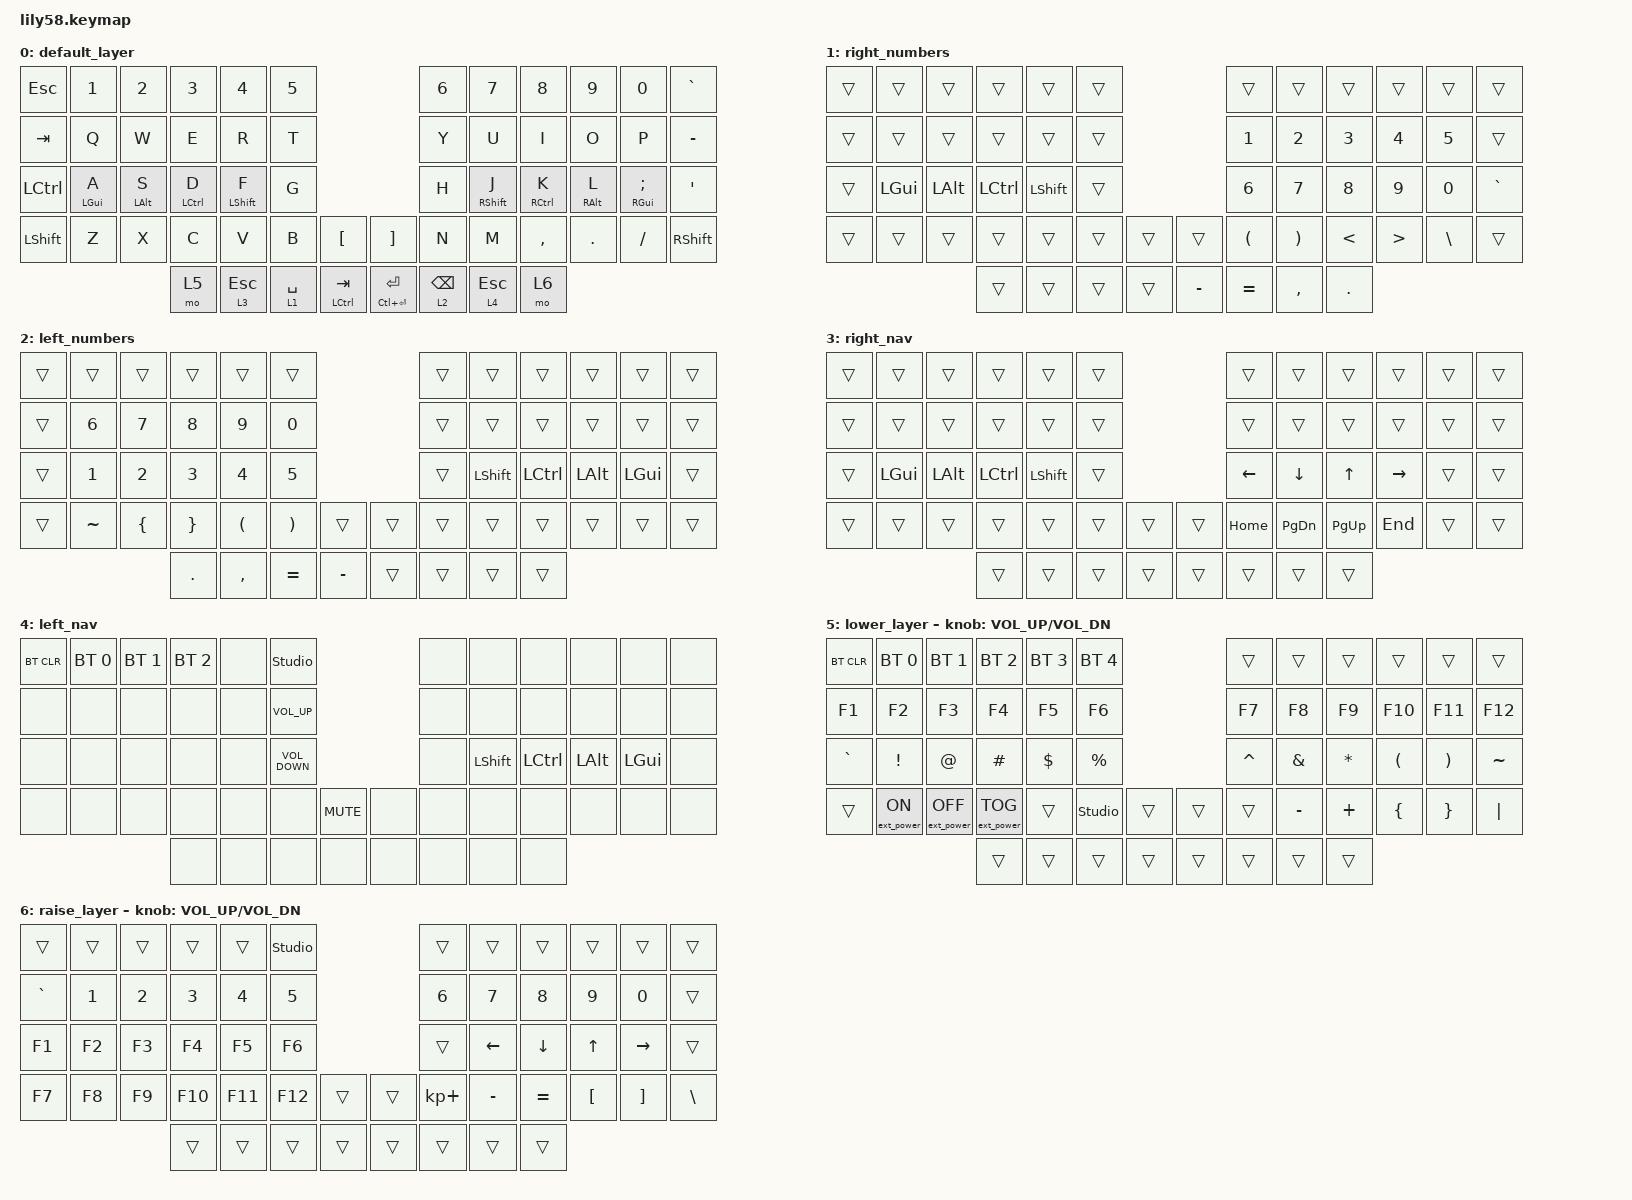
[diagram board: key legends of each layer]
/*
 * Copyright (c) 2020 The ZMK Contributors
 *
 * SPDX-License-Identifier: MIT
 */

#include <dt-bindings/zmk/behaviors.h>
#include <behaviors.dtsi>
#include <dt-bindings/zmk/bt.h>
#include <dt-bindings/zmk/ext_power.h>
#include <dt-bindings/zmk/keys.h>

/ {
    behaviors {
        hml: home_row_mod_left {
            compatible = "zmk,behavior-hold-tap";
            #binding-cells = <2>;
            flavor = "balanced";
            require-prior-idle-ms = <150>;
            tapping-term-ms = <280>;
            quick-tap-ms = <175>;
            bindings = <&kp>, <&kp>;

            hold-trigger-key-positions = <13 14 15 16>; // List of keys on the right side of the keyboard
            hold-trigger-on-release;
        };

        hmr: home_row_mod_right {
            compatible = "zmk,behavior-hold-tap";
            #binding-cells = <2>;
            flavor = "balanced";
            require-prior-idle-ms = <150>;
            tapping-term-ms = <280>;
            quick-tap-ms = <175>;
            bindings = <&kp>, <&kp>;

            hold-trigger-key-positions = <13 14 15 16>; // List of keys on the left side of the keyboard
            hold-trigger-on-release;
        };
    };
};

/ {
    keymap {
        compatible = "zmk,keymap";

        default_layer {
            // ------------------------------------------------------------------------------------------------------------
            // |  ESC  |  1  |  2  |  3   |  4   |  5   |                   |  6   |  7    |  8    |  9   |   0   |   `   |
            // |  TAB  |  Q  |  W  |  E   |  R   |  T   |                   |  Y   |  U    |  I    |  O   |   P   |   -   |
            // |  CTRL |  A  |  S  |  D   |  F   |  G   |                   |  H   |  J    |  K    |  L   |   ;   |   '   |
            // | SHIFT |  Z  |  X  |  C   |  V   |  B   |   "["  |  |  "]"  |  N   |  M    |  ,    |  .   |   /   | SHIFT |
            //                     | ALT  | GUI  | LOWER|  SPACE |  | ENTER | RAISE| BSPC  | GUI   |

            bindings = <
&kp ESC    &kp N1       &kp N2       &kp N3        &kp N4        &kp N5                                         &kp N6           &kp N7        &kp N8        &kp N9       &kp N0               &kp GRAVE
&kp TAB    &kp Q        &kp W        &kp E         &kp R         &kp T                                          &kp Y            &kp U         &kp I         &kp O        &kp P                &kp MINUS
&kp LCTRL  &hml LGUI A  &hml LALT S  &hml LCTRL D  &hml LSHFT F  &kp G                                          &kp H            &hmr RSHFT J  &hmr RCTRL K  &hmr RALT L  &hmr RGUI SEMICOLON  &kp SQT
&kp LSHFT  &kp Z        &kp X        &kp C         &kp V         &kp B        &kp LBKT         &kp RBKT         &kp N            &kp M         &kp COMMA     &kp DOT      &kp FSLH             &kp RSHFT
                                     &mo 5         &lt 3 ESCAPE  &lt 1 SPACE  &mt LCTRL TAB    &mt LC(RET) RET  &lt 2 BACKSPACE  &lt 4 ESCAPE  &mo 6
            >;
        };

        right_numbers {
            bindings = <
&trans  &trans    &trans    &trans     &trans     &trans                       &trans                &trans                 &trans         &trans            &trans         &trans
&trans  &trans    &trans    &trans     &trans     &trans                       &kp NUMBER_1          &kp NUMBER_2           &kp NUMBER_3   &kp NUMBER_4      &kp N5         &trans
&trans  &kp LGUI  &kp LALT  &kp LCTRL  &kp LSHFT  &trans                       &kp N6                &kp N7                 &kp N8         &kp N9            &kp N0         &kp GRAVE
&trans  &trans    &trans    &trans     &trans     &trans  &trans    &trans     &kp LEFT_PARENTHESIS  &kp RIGHT_PARENTHESIS  &kp LESS_THAN  &kp GREATER_THAN  &kp BACKSLASH  &trans
                            &trans     &trans     &trans  &trans    &kp MINUS  &kp EQUAL             &kp COMMA              &kp PERIOD
            >;
        };

        left_numbers {
            bindings = <
&trans  &trans     &trans          &trans           &trans                &trans                                      &trans  &trans     &trans     &trans    &trans    &trans
&trans  &kp N6     &kp N7          &kp N8           &kp N9                &kp N0                                      &trans  &trans     &trans     &trans    &trans    &trans
&trans  &kp N1     &kp N2          &kp N3           &kp N4                &kp N5                                      &trans  &kp LSHFT  &kp LCTRL  &kp LALT  &kp LGUI  &trans
&trans  &kp TILDE  &kp LEFT_BRACE  &kp RIGHT_BRACE  &kp LEFT_PARENTHESIS  &kp RIGHT_PARENTHESIS  &trans       &trans  &trans  &trans     &trans     &trans    &trans    &trans
                                   &kp PERIOD       &kp COMMA             &kp EQUAL              &kp MINUS    &trans  &trans  &trans     &trans
            >;
        };

        right_nav {
            bindings = <
&trans  &trans    &trans    &trans     &trans     &trans                    &trans    &trans     &trans     &trans     &trans  &trans
&trans  &trans    &trans    &trans     &trans     &trans                    &trans    &trans     &trans     &trans     &trans  &trans
&trans  &kp LGUI  &kp LALT  &kp LCTRL  &kp LSHFT  &trans                    &kp LEFT  &kp DOWN   &kp UP     &kp RIGHT  &trans  &trans
&trans  &trans    &trans    &trans     &trans     &trans  &trans    &trans  &kp HOME  &kp PG_DN  &kp PG_UP  &kp END    &trans  &trans
                            &trans     &trans     &trans  &trans    &trans  &trans    &trans     &trans
            >;
        };

        left_nav {
            bindings = <
&bt BT_CLR  &bt BT_SEL 0  &bt BT_SEL 1  &bt BT_SEL 2  &none  &studio_unlock                          &none  &none      &none      &none     &none     &none
&none       &none         &none         &none         &none  &kp C_VOLUME_UP                         &none  &none      &none      &none     &none     &none
&none       &none         &none         &none         &none  &kp C_VOLUME_DOWN                       &none  &kp LSHFT  &kp LCTRL  &kp LALT  &kp LGUI  &none
&none       &none         &none         &none         &none  &none              &kp K_MUTE    &none  &none  &none      &none      &none     &none     &none
                                        &none         &none  &none              &none         &none  &none  &none      &none
            >;
        };

        lower_layer {
            // ------------------------------------------------------------------------------------------------------------
            // | BTCLR | BT1 | BT2 |  BT3 |  BT4 |  BT5 |                   |      |       |       |      |       |       |
            // |  F1   |  F2 |  F3 |  F4  |  F5  |  F6  |                   |  F7  |  F8   |  F9   |  F10 |  F11  |  F12  |
            // |   `   |  !  |  @  |  #   |  $   |  %   |                   |  ^   |  &    |  *    |  (   |   )   |   ~   |
            // |       |     |     |      |      |      |        |  |       |      |  _    |  +    |  {   |   }   |  "|"  |
            //                     |      |      |      |        |  |       |      |       |       |

            bindings = <
&bt BT_CLR  &bt BT_SEL 0      &bt BT_SEL 1       &bt BT_SEL 2       &bt BT_SEL 3  &bt BT_SEL 4                      &trans     &trans     &trans     &trans    &trans    &trans
&kp F1      &kp F2            &kp F3             &kp F4             &kp F5        &kp F6                            &kp F7     &kp F8     &kp F9     &kp F10   &kp F11   &kp F12
&kp GRAVE   &kp EXCL          &kp AT             &kp HASH           &kp DOLLAR    &kp PRCNT                         &kp CARET  &kp AMPS   &kp ASTRK  &kp LPAR  &kp RPAR  &kp TILDE
&trans      &ext_power EP_ON  &ext_power EP_OFF  &ext_power EP_TOG  &trans        &studio_unlock  &trans    &trans  &trans     &kp MINUS  &kp PLUS   &kp LBRC  &kp RBRC  &kp PIPE
                                                 &trans             &trans        &trans          &trans    &trans  &trans     &trans     &trans
            >;

            sensor-bindings = <&inc_dec_kp C_VOL_UP C_VOL_DN>;
        };

        raise_layer {
            // ------------------------------------------------------------------------------------------------------------
            // |       |     |     |      |      |      |                   |      |       |       |      |       |       |
            // |   `   |  1  |  2  |  3   |  4   |  5   |                   |  6   |   7   |   8   |  9   |   0   |       |
            // |   F1  |  F2 |  F3 |  F4  |  F5  |  F6  |                   |      |   <-  |   v   |  ^   |  ->   |       |
            // |   F7  |  F8 |  F9 |  F10 |  F11 |  F12 |        |  |       |  +   |   -   |   =   |  [   |   ]   |   \   |
            //                     |      |      |      |        |  |       |      |       |       |

            bindings = <
&trans     &trans  &trans  &trans   &trans   &studio_unlock                    &trans       &trans     &trans     &trans    &trans     &trans
&kp GRAVE  &kp N1  &kp N2  &kp N3   &kp N4   &kp N5                            &kp N6       &kp N7     &kp N8     &kp N9    &kp N0     &trans
&kp F1     &kp F2  &kp F3  &kp F4   &kp F5   &kp F6                            &trans       &kp LEFT   &kp DOWN   &kp UP    &kp RIGHT  &trans
&kp F7     &kp F8  &kp F9  &kp F10  &kp F11  &kp F12         &trans    &trans  &kp KP_PLUS  &kp MINUS  &kp EQUAL  &kp LBKT  &kp RBKT   &kp BSLH
                           &trans   &trans   &trans          &trans    &trans  &trans       &trans     &trans
            >;

            sensor-bindings = <&inc_dec_kp C_VOL_UP C_VOL_DN>;
        };
    };
};
